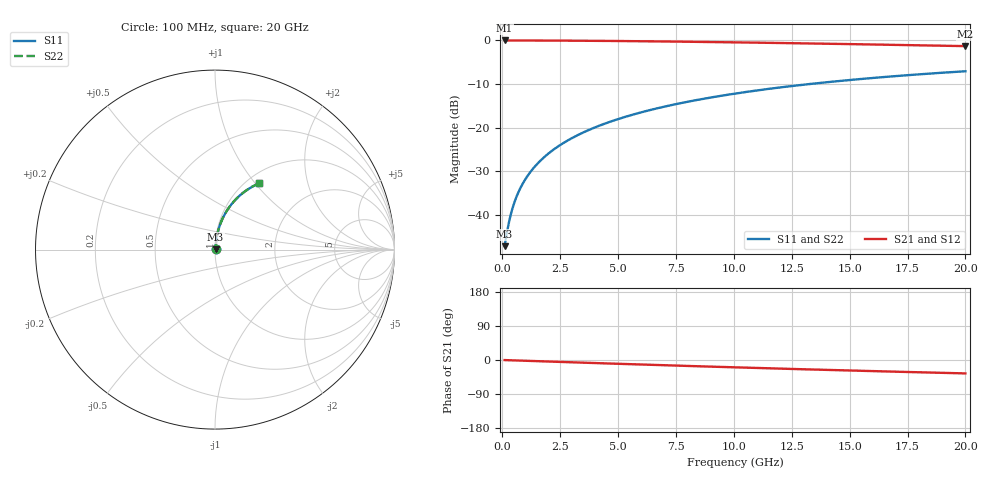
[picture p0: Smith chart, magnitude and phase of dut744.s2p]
! Touchstone file exported from HFSS 2024.1.0
!  File:  C:/UserFiles/LocalFiles/RDL_TSV_Batchsim/temp_RDL_top_744_1779851564.aedt
!  Generated:  11:15:09 AM May 27, 2026
!  Design:  RDL_top
!  Project:  temp_RDL_top_744_1779851564
!  Setup:  Setup1
!  Solution:  Sweep
! Variables:
!  dtsv = 10.80580581um
!  hbump = 3um
!  htsv = 65.81um
!  ldown = 100um
!  lrdl = 403.56um
!  p = 40
!  p1 = 55.92um
!  rhole = 1um
!  t = 450um
!  tdown = 3.915915916um
!  trdl = 3.91um
!  wdown = 15.38538539um
!  wrdl = 10.56um
# GHz S MA R 50.000000
! Terminal data exported
! Port[1] = Box2_T1
! Port[2] = Box2_T2
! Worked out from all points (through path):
!   200 points, 100 MHz to 20 GHz, reference 50 ohm
!   highest |S21| = -0.03 dB at 100 MHz (marker M1); lowest = -1.3 dB at 20 GHz (marker M2)
!   group delay of S21, straight-line fit = 4.91 ps
!   lowest |S11| = -47.2 dB at 100 MHz (marker M3), VSWR 1.01, Z = 50.4 + j0.26 ohm
!   |S11| at or under -10 dB: start of sweep to 13.31 GHz
!   |S22| runs from -47.2 to -7.1 dB; largest |S21 - S12| = 3.1e-15
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0.1  0.004371 36.1  0.9965 -0.2  0.9965 -0.2  0.004371 36.1
! Gamma 0 0 0 0
! Port Impedance 50 0 50 0
0.2  0.00627 55.1  0.9964 -0.4  0.9964 -0.4  0.00627 55.1
0.3  0.008525 64.5  0.9963 -0.6  0.9963 -0.6  0.008525 64.5
0.4  0.0109 69.8  0.9963 -0.8  0.9963 -0.8  0.0109 69.8
0.5  0.01333 73.1  0.9962 -1.0  0.9962 -1.0  0.01333 73.1
0.6  0.01578 75.3  0.996 -1.2  0.996 -1.2  0.01578 75.3
0.8  0.02072 78.1  0.9958 -1.6  0.9958 -1.6  0.02072 78.1
1.1  0.02816 80.2  0.9954 -2.3  0.9954 -2.3  0.02816 80.2
1.5  0.03811 81.5  0.9947 -3.1  0.9947 -3.1  0.03811 81.5
1.8  0.0456 81.9  0.9941 -3.7  0.9941 -3.7  0.0456 81.9
2.1  0.05308 82.1  0.9934 -4.3  0.9934 -4.3  0.05308 82.1
2.7  0.06806 82.0  0.9917 -5.5  0.9917 -5.5  0.06806 82.0
3.5  0.08798 81.4  0.9889 -7.1  0.9889 -7.1  0.08798 81.4
4.2  0.1053 80.6  0.986 -8.5  0.986 -8.5  0.1053 80.6
5  0.1251 79.5  0.9821 -10.0  0.9821 -10.0  0.1251 79.5
5.9  0.1471 78.2  0.9771 -11.8  0.9771 -11.8  0.1471 78.2
6.8  0.1689 76.9  0.9715 -13.5  0.9715 -13.5  0.1689 76.9
8.3  0.2046 74.5  0.9613 -16.2  0.9613 -16.2  0.2046 74.5
10.1  0.2462 71.6  0.9476 -19.5  0.9476 -19.5  0.2462 71.7
13.4  0.3182 66.4  0.9197 -25.1  0.9197 -25.1  0.3182 66.4
16.7  0.3837 61.3  0.8895 -30.4  0.8895 -30.4  0.3837 61.3
20  0.4421 56.4  0.858 -35.4  0.858 -35.4  0.4422 56.5
